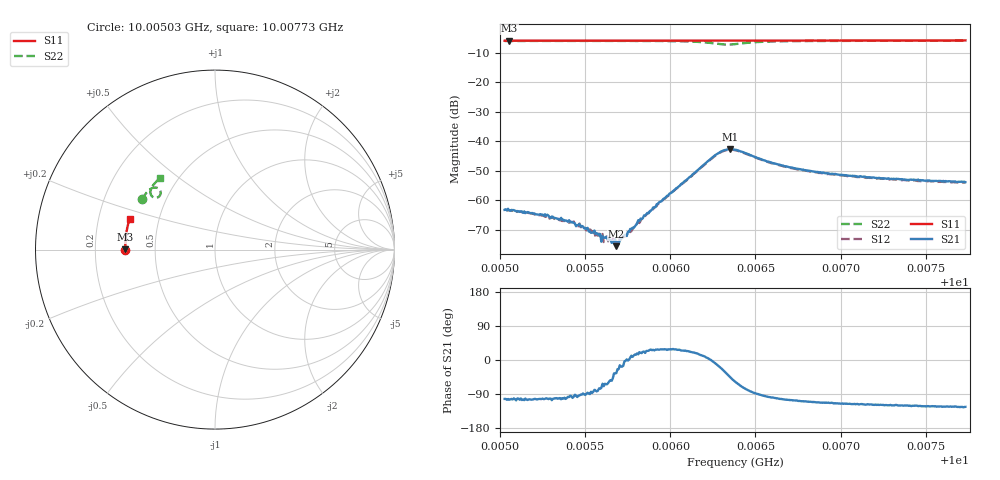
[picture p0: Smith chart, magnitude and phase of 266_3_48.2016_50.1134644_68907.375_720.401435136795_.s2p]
#  HZ  S  RI  R  50.00
! Rohde & Schwarz Vector Network Analyzer
! Rohde-Schwarz,ZNB20-2Port,1311601062101988,3.16
! Created: UTC 3/20/2024, 11:47:59 AM
! freq[Hz]  re:S11  im:S11  re:S21  im:S21  re:S12  im:S12  re:S22  im:S22
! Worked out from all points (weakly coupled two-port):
!   401 points, 10.00503 GHz to 10.00773 GHz, reference 50 ohm
!   highest |S21| = -42.64 dB at 10.00635 GHz (marker M1); lowest = -75.4 dB at 10.00568 GHz (marker M2)
!   lowest |S11| = -6.0 dB at 10.00505 GHz (marker M3), VSWR 3.00, Z = 16.7 + j0.0536 ohm
!   |S11| at or under -10 dB: nowhere
!   |S22| runs from -7.3 to -6.0 dB; largest |S21 - S12| = 0.00044
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1.0005026e10  -0.4996 -0.00054  -0.000153 -0.000678  -0.000143 -0.000682  -0.4083 0.2795
1.0005053e10  -0.4996 0.00121  -0.000175 -0.000662  -0.000144 -0.00067  -0.4072 0.2811
1.000527e10  -0.4999 0.0153  -0.000105 -0.000538  -7.72e-05 -0.000525  -0.3989 0.2939
1.0005425e10  -0.4999 0.0255  -7.5e-05 -0.000423  -4.03e-05 -0.000428  -0.3923 0.3032
1.000548e10  -0.4997 0.0289  -9.85e-06 -0.000371  -1.31e-05 -0.000356  -0.3899 0.3064
1.0005534e10  -0.4996 0.0324  3e-05 -0.000283  3.21e-05 -0.000315  -0.3873 0.3097
1.0005568e10  -0.4995 0.0346  3.41e-05 -0.000275  4.36e-05 -0.000275  -0.3857 0.3118
1.0005595e10  -0.4994 0.0363  5.66e-05 -0.000193  9.25e-05 -0.000222  -0.3843 0.3135
1.0005622e10  -0.4993 0.0382  0.000108 -0.000217  0.000126 -0.000206  -0.3831 0.3151
1.0005683e10  -0.4992 0.0421  0.000139 -9.61e-05  0.000191 -8.36e-05  -0.3798 0.319
1.0005696e10  -0.4992 0.043  0.000168 -7.51e-05  0.000167 -0.000104  -0.3791 0.3198
1.0005723e10  -0.4991 0.0447  0.000236 -6.45e-05  0.000248 -3.18e-05  -0.3775 0.3214
1.0005933e10  -0.498 0.0583  0.000826 0.000419  0.00078 0.000447  -0.3626 0.3353
1.0006157e10  -0.4964 0.0727  0.00303 0.000961  0.00294 0.00103  -0.3311 0.3459
1.0006265e10  -0.4953 0.0797  0.00579 -0.000918  0.00571 -0.000599  -0.3051 0.3277
1.0006312e10  -0.4949 0.0825  0.00621 -0.00321  0.00621 -0.00291  -0.3044 0.3066
1.0006353e10  -0.4944 0.0847  0.00515 -0.00528  0.00528 -0.0049  -0.3173 0.2917
1.000638e10  -0.4943 0.0864  0.00392 -0.00603  0.00416 -0.00571  -0.3292 0.2885
1.0006617e10  -0.4924 0.1015  -0.000754 -0.00411  -0.000554 -0.00407  -0.3593 0.3288
1.0006833e10  -0.4899 0.1153  -0.00111 -0.00291  -0.000955 -0.00292  -0.35 0.3507
1.0007287e10  -0.4834 0.1439  -0.00114 -0.00203  -0.001 -0.00203  -0.3271 0.3789
1.0007734e10  -0.475 0.1715  -0.00113 -0.0017  -0.00106 -0.00171  -0.3044 0.4004
